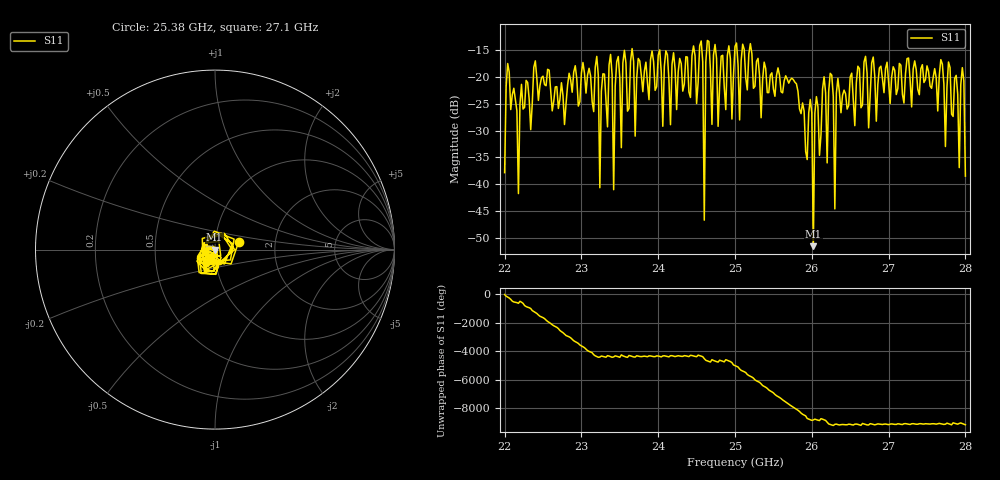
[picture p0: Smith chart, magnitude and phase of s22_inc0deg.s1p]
#  HZ  S  RI  R  50.00
! Rohde & Schwarz ZVA40 4Ports - Version 3.90 - 1145.1110k42 SN: 100403
! Date: 2023-10-04 07:42:17
! Measurement: S22
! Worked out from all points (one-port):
!   301 points, 22 GHz to 28 GHz, reference 50 ohm
!   lowest |S11| = -51.5 dB at 26.02 GHz (marker M1), VSWR 1.01, Z = 49.7 - j0.0684 ohm
!   |S11| at or under -10 dB: start of sweep to end of sweep
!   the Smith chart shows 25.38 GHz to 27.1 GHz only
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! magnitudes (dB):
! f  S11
! 22 GHz  -37.8
! 22.04 GHz  -17.5
! 22.18 GHz  -41.7
! 22.22 GHz  -21.4
! 22.76 GHz  -23.4
! 23.2 GHz  -16.2
! 23.24 GHz  -40.6
! 23.38 GHz  -15.8
! 23.42 GHz  -41.0
! 23.5 GHz  -20.2
! 24.26 GHz  -19.1
! 24.56 GHz  -13.3
! 24.6 GHz  -46.7
! 24.64 GHz  -13.2
! 25 GHz  -14.3
! 25.76 GHz  -20.5
! 25.98 GHz  -24.2
! 26.02 GHz  -51.5
! 26.06 GHz  -23.7
! 26.26 GHz  -19.7
! 26.3 GHz  -44.6
! 26.34 GHz  -20.3
! 26.5 GHz  -20.0
! 27.26 GHz  -16.5
! 27.88 GHz  -19.7
! 27.92 GHz  -36.9
! 27.96 GHz  -18.3
! 28 GHz  -38.5
